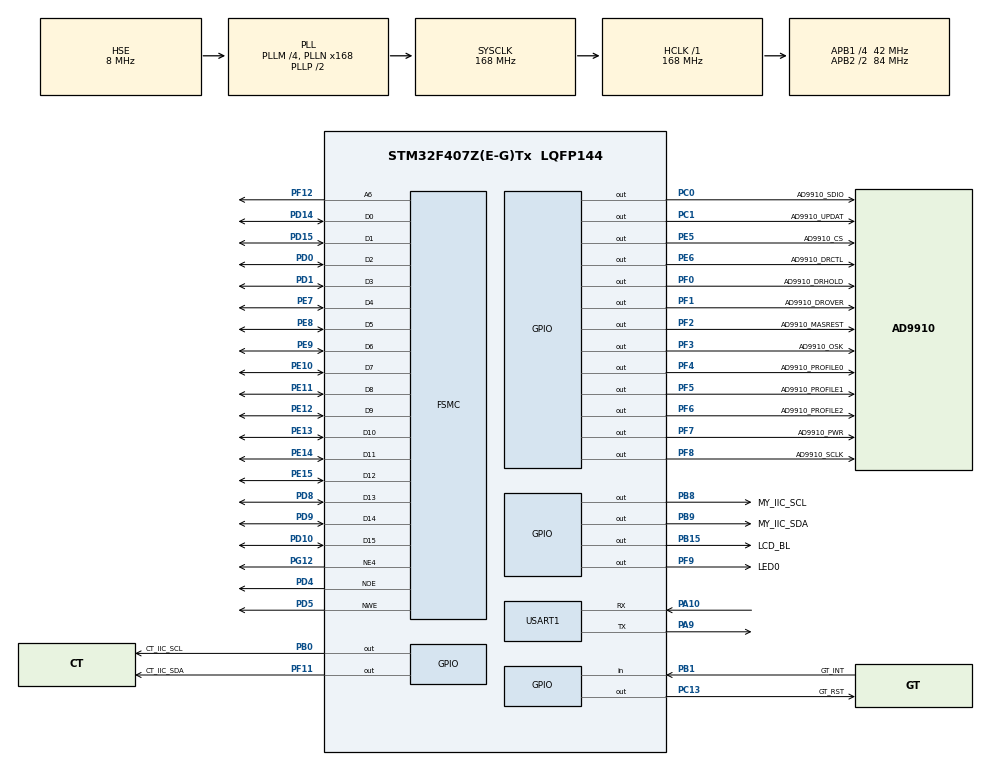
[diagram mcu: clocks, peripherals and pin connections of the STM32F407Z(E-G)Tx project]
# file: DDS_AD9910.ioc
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FSMC.AddressSetupTime4=2
FSMC.DataSetupTime4=5
FSMC.ExtendedAddressSetupTime4=0
FSMC.ExtendedDataSetupTime4=3
FSMC.ExtendedMode4=FSMC_EXTENDED_MODE_ENABLE
Mcu.Family=STM32F4
Mcu.Name=STM32F407Z(E-G)Tx
Mcu.Package=LQFP144
NVIC.PriorityGroup=NVIC_PRIORITYGROUP_4
NVIC.TIM3_IRQn=true\:1\:0\:true\:false\:true\:true\:true
NVIC.TIM4_IRQn=true\:2\:0\:true\:false\:true\:true\:true
NVIC.TIM5_IRQn=true\:3\:0\:true\:false\:true\:true\:true
PA10.Mode=Asynchronous
PA10.Signal=USART1_RX
PA13.Mode=Serial_Wire
PA13.Signal=SYS_JTMS-SWDIO
PA14.Mode=Serial_Wire
PA14.Signal=SYS_JTCK-SWCLK
PA9.Mode=Asynchronous
PA9.Signal=USART1_TX
PB0.GPIO_Label=CT_IIC_SCL
PB0.GPIO_PuPd=GPIO_PULLUP
PB0.GPIO_Speed=GPIO_SPEED_FREQ_VERY_HIGH
PB0.PinState=GPIO_PIN_SET
PB0.Signal=GPIO_Output
PB1.GPIO_Label=GT_INT
PB1.GPIO_PuPd=GPIO_PULLUP
PB1.Signal=GPIO_Input
PB15.GPIO_Label=LCD_BL
PB15.Signal=GPIO_Output
PB8.GPIO_Label=MY_IIC_SCL
PB8.GPIO_PuPd=GPIO_PULLUP
PB8.GPIO_Speed=GPIO_SPEED_FREQ_HIGH
PB8.PinState=GPIO_PIN_SET
PB8.Signal=GPIO_Output
PB9.GPIO_Label=MY_IIC_SDA
PB9.GPIO_PuPd=GPIO_PULLUP
PB9.GPIO_Speed=GPIO_SPEED_FREQ_HIGH
PB9.PinState=GPIO_PIN_SET
PB9.Signal=GPIO_Output
PC0.GPIO_Label=AD9910_SDIO
PC0.GPIO_Speed=GPIO_SPEED_FREQ_VERY_HIGH
PC0.Signal=GPIO_Output
PC1.GPIO_Label=AD9910_UPDAT
PC1.GPIO_Speed=GPIO_SPEED_FREQ_VERY_HIGH
PC1.Signal=GPIO_Output
PC13-ANTI_TAMP.GPIO_Label=GT_RST
PC13-ANTI_TAMP.GPIO_PuPd=GPIO_PULLUP
PC13-ANTI_TAMP.GPIO_Speed=GPIO_SPEED_FREQ_LOW
PC13-ANTI_TAMP.PinState=GPIO_PIN_RESET
PC13-ANTI_TAMP.Signal=GPIO_Output
PD0.Signal=FSMC_D2_DA2
PD1.Signal=FSMC_D3_DA3
PD10.Signal=FSMC_D15_DA15
PD14.Signal=FSMC_D0_DA0
PD15.Signal=FSMC_D1_DA1
PD4.Signal=FSMC_NOE
PD5.Signal=FSMC_NWE
PD8.Signal=FSMC_D13_DA13
PD9.Signal=FSMC_D14_DA14
PE10.Signal=FSMC_D7_DA7
PE11.Signal=FSMC_D8_DA8
PE12.Signal=FSMC_D9_DA9
PE13.Signal=FSMC_D10_DA10
PE14.Signal=FSMC_D11_DA11
PE15.Signal=FSMC_D12_DA12
PE5.GPIO_Label=AD9910_CS
PE5.GPIO_Speed=GPIO_SPEED_FREQ_VERY_HIGH
PE5.Signal=GPIO_Output
PE6.GPIO_Label=AD9910_DRCTL
PE6.GPIO_Speed=GPIO_SPEED_FREQ_VERY_HIGH
PE6.Signal=GPIO_Output
PE7.Signal=FSMC_D4_DA4
PE8.Signal=FSMC_D5_DA5
PE9.Signal=FSMC_D6_DA6
PF0.GPIO_Label=AD9910_DRHOLD
PF0.GPIO_Speed=GPIO_SPEED_FREQ_VERY_HIGH
PF0.Signal=GPIO_Output
PF1.GPIO_Label=AD9910_DROVER
PF1.GPIO_Speed=GPIO_SPEED_FREQ_VERY_HIGH
PF1.Signal=GPIO_Output
PF11.GPIO_Label=CT_IIC_SDA
PF11.GPIO_ModeDefaultOutputPP=GPIO_MODE_OUTPUT_PP
PF11.GPIO_PuPd=GPIO_PULLUP
PF11.GPIO_Speed=GPIO_SPEED_FREQ_VERY_HIGH
PF11.PinState=GPIO_PIN_SET
PF11.Signal=GPIO_Output
PF12.Signal=FSMC_A6
PF2.GPIO_Label=AD9910_MASREST
PF2.GPIO_Speed=GPIO_SPEED_FREQ_VERY_HIGH
PF2.Signal=GPIO_Output
PF3.GPIO_Label=AD9910_OSK
PF3.GPIO_Speed=GPIO_SPEED_FREQ_VERY_HIGH
PF3.Signal=GPIO_Output
PF4.GPIO_Label=AD9910_PROFILE0
PF4.GPIO_Speed=GPIO_SPEED_FREQ_VERY_HIGH
PF4.Signal=GPIO_Output
PF5.GPIO_Label=AD9910_PROFILE1
PF5.GPIO_Speed=GPIO_SPEED_FREQ_VERY_HIGH
PF5.Signal=GPIO_Output
PF6.GPIO_Label=AD9910_PROFILE2
PF6.GPIO_Speed=GPIO_SPEED_FREQ_VERY_HIGH
PF6.Signal=GPIO_Output
PF7.GPIO_Label=AD9910_PWR
PF7.GPIO_Speed=GPIO_SPEED_FREQ_VERY_HIGH
PF7.Signal=GPIO_Output
PF8.GPIO_Label=AD9910_SCLK
PF8.GPIO_Speed=GPIO_SPEED_FREQ_VERY_HIGH
PF8.Signal=GPIO_Output
PF9.GPIO_Label=LED0
PF9.PinState=GPIO_PIN_SET
PF9.Signal=GPIO_Output
PG12.Mode=NorPsramChipSelect4_4
PG12.Signal=FSMC_NE4
PH0-OSC_IN.Mode=HSE-External-Oscillator
PH0-OSC_IN.Signal=RCC_OSC_IN
PH1-OSC_OUT.Mode=HSE-External-Oscillator
PH1-OSC_OUT.Signal=RCC_OSC_OUT
ProjectManager.HeapSize=0x200
ProjectManager.StackSize=0x400
ProjectManager.TargetToolchain=SW4STM32
RCC.48MHZClocksFreq_Value=84000000
RCC.AHBFreq_Value=168000000
RCC.APB1CLKDivider=RCC_HCLK_DIV4
RCC.APB1Freq_Value=42000000
RCC.APB1TimFreq_Value=84000000
RCC.APB2CLKDivider=RCC_HCLK_DIV2
RCC.APB2Freq_Value=84000000
RCC.APB2TimFreq_Value=168000000
RCC.CortexFreq_Value=168000000
RCC.HCLKFreq_Value=168000000
RCC.HSE_VALUE=8000000
RCC.HSI_VALUE=16000000
RCC.LSE_VALUE=32768
RCC.PLLM=4
RCC.PLLN=168
RCC.PLLSourceVirtual=RCC_PLLSOURCE_HSE
RCC.SYSCLKFreq_VALUE=168000000
RCC.SYSCLKSource=RCC_SYSCLKSOURCE_PLLCLK
RCC.VCOOutputFreq_Value=336000000
SH.FSMC_A6.0=FSMC_A6,A6_4
SH.FSMC_D0_DA0.0=FSMC_D0,16b-d4
SH.FSMC_D10_DA10.0=FSMC_D10,16b-d4
SH.FSMC_D11_DA11.0=FSMC_D11,16b-d4
SH.FSMC_D12_DA12.0=FSMC_D12,16b-d4
SH.FSMC_D13_DA13.0=FSMC_D13,16b-d4
SH.FSMC_D14_DA14.0=FSMC_D14,16b-d4
SH.FSMC_D15_DA15.0=FSMC_D15,16b-d4
SH.FSMC_D1_DA1.0=FSMC_D1,16b-d4
SH.FSMC_D2_DA2.0=FSMC_D2,16b-d4
SH.FSMC_D3_DA3.0=FSMC_D3,16b-d4
SH.FSMC_D4_DA4.0=FSMC_D4,16b-d4
SH.FSMC_D5_DA5.0=FSMC_D5,16b-d4
SH.FSMC_D6_DA6.0=FSMC_D6,16b-d4
SH.FSMC_D7_DA7.0=FSMC_D7,16b-d4
SH.FSMC_D8_DA8.0=FSMC_D8,16b-d4
SH.FSMC_D9_DA9.0=FSMC_D9,16b-d4
SH.FSMC_NOE.0=FSMC_NOE,Lcd4
SH.FSMC_NWE.0=FSMC_NWE,Lcd4
TIM3.AutoReloadPreload=TIM_AUTORELOAD_PRELOAD_ENABLE
TIM3.Period=999
TIM3.Prescaler=83
TIM4.AutoReloadPreload=TIM_AUTORELOAD_PRELOAD_ENABLE
TIM4.Period=999
TIM4.Prescaler=839
TIM5.AutoReloadPreload=TIM_AUTORELOAD_PRELOAD_ENABLE
TIM5.Period=8399
TIM5.Prescaler=4999
USART1.VirtualMode=VM_ASYNC
VP_CRC_VS_CRC.Mode=CRC_Activate
VP_TIM3_VS_ClockSourceINT.Mode=Internal
VP_TIM4_VS_ClockSourceINT.Mode=Internal
VP_TIM5_VS_ClockSourceINT.Mode=Internal
board=custom

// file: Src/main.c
/* USER CODE BEGIN Header */
/**
  ******************************************************************************
  * @file           : main.c
  * @brief          : Main program body
  ******************************************************************************
  * @attention
  *
  * <h2><center>&copy; Copyright (c) 2020 STMicroelectronics.
  * All rights reserved.</center></h2>
  *
  * This software component is licensed by ST under BSD 3-Clause license,
  * the "License"; You may not use this file except in compliance with the
  * License. You may obtain a copy of the License at:
  *                        opensource.org/licenses/BSD-3-Clause
  *
  ******************************************************************************
  */
/* USER CODE END Header */
#include "main.h"
#include "crc.h"
#include "tim.h"
#include "usart.h"
#include "gpio.h"
#include "fsmc.h"

/* USER CODE BEGIN Includes */
#include <stdio.h>
#include "retarget.h"
#include "ILI93xx.h"
#include "GUI.h"
#include "touch.h"
#include "emwinDemo.h"
#include "DIALOG.h"
#include "ad9910.h"
/* USER CODE END Includes */

void SystemClock_Config(void);

int main(void)
{

  /* MCU Configuration--------------------------------------------------------*/

  /* Reset of all peripherals, Initializes the Flash interface and the Systick. */
  HAL_Init();

  /* Configure the system clock */
  SystemClock_Config();

  /* Initialize all configured peripherals */
  MX_GPIO_Init();
  MX_USART1_UART_Init();
  MX_FSMC_Init();
  MX_CRC_Init();
  MX_TIM4_Init();
  MX_TIM5_Init();
  MX_TIM3_Init();
  /* USER CODE BEGIN 2 */
    RetargetInit(&huart1);
    TFTLCD_Init();
    TP_Init();

    ad9910_init();
    HAL_Delay(100);
    Freq_Amp_set(1000,0.83);//设置频率，幅度
    HAL_Delay(100);//等待状态字写入

    WM_SetCreateFlags(WM_CF_MEMDEV);
    GUI_Init();

    HAL_TIM_Base_Start_IT(&htim3);
    HAL_TIM_Base_Start_IT(&htim4);
    HAL_TIM_Base_Start_IT(&htim5);

    emwinDemo();

  /* USER CODE END 2 */

  /* Infinite loop */
  while (1)
  {

    /* USER CODE BEGIN 3 */
      GUI_Delay(1);

  }
  /* USER CODE END 3 */
}

void SystemClock_Config(void)
{
  RCC_OscInitTypeDef RCC_OscInitStruct = {0};
  RCC_ClkInitTypeDef RCC_ClkInitStruct = {0};

  /** Configure the main internal regulator output voltage
  */
  __HAL_RCC_PWR_CLK_ENABLE();
  __HAL_PWR_VOLTAGESCALING_CONFIG(PWR_REGULATOR_VOLTAGE_SCALE1);
  /** Initializes the RCC Oscillators according to the specified parameters
  * in the RCC_OscInitTypeDef structure.
  */
  RCC_OscInitStruct.OscillatorType = RCC_OSCILLATORTYPE_HSE;
  RCC_OscInitStruct.HSEState = RCC_HSE_ON;
  RCC_OscInitStruct.PLL.PLLState = RCC_PLL_ON;
  RCC_OscInitStruct.PLL.PLLSource = RCC_PLLSOURCE_HSE;
  RCC_OscInitStruct.PLL.PLLM = 4;
  RCC_OscInitStruct.PLL.PLLN = 168;
  RCC_OscInitStruct.PLL.PLLP = RCC_PLLP_DIV2;
  RCC_OscInitStruct.PLL.PLLQ = 4;
  if (HAL_RCC_OscConfig(&RCC_OscInitStruct) != HAL_OK)
  {
    Error_Handler();
  }
  /** Initializes the CPU, AHB and APB buses clocks
  */
  RCC_ClkInitStruct.ClockType = RCC_CLOCKTYPE_HCLK|RCC_CLOCKTYPE_SYSCLK
                              |RCC_CLOCKTYPE_PCLK1|RCC_CLOCKTYPE_PCLK2;
  RCC_ClkInitStruct.SYSCLKSource = RCC_SYSCLKSOURCE_PLLCLK;
  RCC_ClkInitStruct.AHBCLKDivider = RCC_SYSCLK_DIV1;
  RCC_ClkInitStruct.APB1CLKDivider = RCC_HCLK_DIV4;
  RCC_ClkInitStruct.APB2CLKDivider = RCC_HCLK_DIV2;

  if (HAL_RCC_ClockConfig(&RCC_ClkInitStruct, FLASH_LATENCY_5) != HAL_OK)
  {
    Error_Handler();
  }
}

void Error_Handler(void)
{
}

/************************ (C) COPYRIGHT STMicroelectronics *****END OF FILE****/
